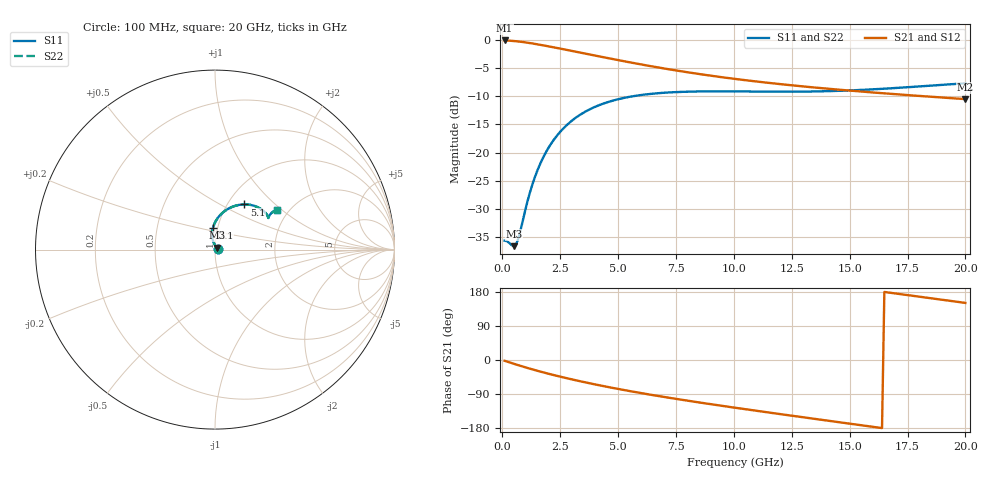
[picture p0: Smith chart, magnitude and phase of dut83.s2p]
! Touchstone file exported from HFSS 2024.1.0
!  File:  C:/UserFiles/LocalFiles/RDL_TSV_Batchsim/temp_RDL_TSV_83_1779414973.aedt
!  Generated:  10:13:53 AM May 22, 2026
!  Design:  RDL_TSV
!  Project:  temp_RDL_TSV_83_1779414973
!  Setup:  Setup1
!  Solution:  Sweep
! Variables:
!  dtsv = 13.35um
!  hbump = 3um
!  htsv = 76.81um
!  ldown = 375.16um
!  lrdl = 423.9um
!  p = 40
!  p1 = 59.84um
!  rhole = 10um
!  subl = 2821.08um
!  t = 450um
!  tdown = 2.89um
!  trdl = 5um
!  viad = 10um
!  wdown = 22.61um
!  wrdl = 11.52um
!  xbump = 18um
# GHz S MA R 50.000000
! Terminal data exported
! Port[1] = TM1_1_T1
! Port[2] = TM1_4_T1
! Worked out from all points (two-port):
!   200 points, 100 MHz to 20 GHz, reference 50 ohm
!   highest |S21| = -0.15 dB at 100 MHz (marker M1); lowest = -10.5 dB at 20 GHz (marker M2)
!   |S21| within 3 dB of the highest: start of sweep to 4.409 GHz
!   lowest |S11| = -36.6 dB at 500 MHz (marker M3), VSWR 1.03, Z = 51.1 + j1.03 ohm
!   |S11| at or under -10 dB: start of sweep to 5.673 GHz
!   |S22| runs from -36.6 to -7.7 dB; largest |S21 - S12| = 3.8e-14
!   S11 on the Smith chart (normalised r, x): 100 MHz: 1.03, +0.00; 2.1 GHz: 0.95, +0.23; 5.1 GHz: 1.19, +0.66; 20 GHz: 1.74, +0.93
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0.1  0.01662 6.9  0.9828 -2.0  0.9828 -2.0  0.01662 6.9
! Gamma 0 0 0 0
! Port Impedance 50 0 50 0
0.5  0.01487 42.9  0.9717 -10.0  0.9717 -10.0  0.01487 42.9
0.6  0.0155 57.9  0.9674 -11.9  0.9674 -11.9  0.0155 57.8
0.7  0.01754 72.3  0.9625 -13.9  0.9625 -13.9  0.01753 72.3
1.1  0.03785 100.3  0.9385 -21.3  0.9385 -21.3  0.03781 100.3
1.4  0.06011 103.0  0.9173 -26.5  0.9173 -26.5  0.06004 103.0
1.7  0.08493 101.0  0.8947 -31.5  0.8947 -31.5  0.08483 100.9
2.1  0.1192 95.7  0.8637 -37.9  0.8637 -37.9  0.1191 95.7
2.4  0.1445 91.2  0.8404 -42.5  0.8404 -42.5  0.1444 91.2
2.7  0.1687 86.6  0.8173 -46.9  0.8173 -46.9  0.1685 86.6
3.5  0.2252 75.1  0.7579 -57.9  0.7579 -57.9  0.225 75.1
4.2  0.2639 66.4  0.7095 -66.8  0.7095 -66.8  0.2636 66.4
5.1  0.3 57.1  0.6528 -77.5  0.6528 -77.5  0.2997 57.1
5.9  0.3214 50.4  0.608 -86.3  0.608 -86.3  0.3211 50.4
6.8  0.3365 44.3  0.5637 -95.7  0.5637 -95.7  0.3361 44.3
8.4  0.3474 36.8  0.4995 -111.1  0.4995 -111.1  0.3471 36.8
10.1  0.3479 32.4  0.4476 -126.4  0.4476 -126.4  0.3475 32.4
11.7  0.346 30.7  0.4099 -140.2  0.4099 -140.2  0.3456 30.7
13.4  0.3475 30.8  0.3782 -154.6  0.3782 -154.6  0.347 30.8
15  0.355 31.8  0.3539 -168.0  0.3539 -168.0  0.3545 31.8
16.7  0.3699 32.8  0.3321 177.9  0.3321 177.9  0.3694 32.8
20  0.4109 32.8  0.2975 150.7  0.2975 150.7  0.4103 32.7
